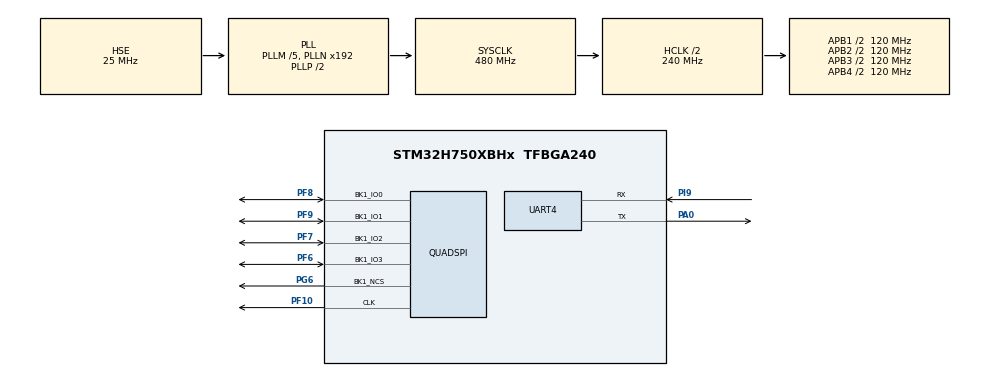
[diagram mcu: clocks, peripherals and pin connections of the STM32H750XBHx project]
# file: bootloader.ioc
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CORTEX_M7.AccessPermission-Cortex_Memory_Protection_Unit_Region1_Settings=MPU_REGION_FULL_ACCESS
CORTEX_M7.BaseAddress-Cortex_Memory_Protection_Unit_Region0_Settings=0x0
CORTEX_M7.BaseAddress-Cortex_Memory_Protection_Unit_Region1_Settings=0x90000000
CORTEX_M7.DisableExec-Cortex_Memory_Protection_Unit_Region0_Settings=MPU_INSTRUCTION_ACCESS_DISABLE
CORTEX_M7.Enable-Cortex_Memory_Protection_Unit_Region0_Settings=MPU_REGION_ENABLE
CORTEX_M7.Enable-Cortex_Memory_Protection_Unit_Region1_Settings=MPU_REGION_ENABLE
CORTEX_M7.IsCacheable-Cortex_Memory_Protection_Unit_Region1_Settings=MPU_ACCESS_CACHEABLE
CORTEX_M7.IsShareable-Cortex_Memory_Protection_Unit_Region0_Settings=MPU_ACCESS_SHAREABLE
CORTEX_M7.MPU_Control=MPU_PRIVILEGED_DEFAULT
CORTEX_M7.Size-Cortex_Memory_Protection_Unit_Region0_Settings=MPU_REGION_SIZE_4GB
CORTEX_M7.Size-Cortex_Memory_Protection_Unit_Region1_Settings=MPU_REGION_SIZE_8MB
CORTEX_M7.SubRegionDisable-Cortex_Memory_Protection_Unit_Region0_Settings=0x87
Mcu.Family=STM32H7
Mcu.Name=STM32H750XBHx
Mcu.Package=TFBGA240
NVIC.PriorityGroup=NVIC_PRIORITYGROUP_4
PA0.Mode=Asynchronous
PA0.Signal=UART4_TX
PF10.GPIO_Speed=GPIO_SPEED_FREQ_VERY_HIGH
PF10.Mode=Single Bank 1
PF10.Signal=QUADSPI_CLK
PF6.GPIO_Speed=GPIO_SPEED_FREQ_VERY_HIGH
PF6.Mode=Single Bank 1
PF6.Signal=QUADSPI_BK1_IO3
PF7.GPIO_Speed=GPIO_SPEED_FREQ_VERY_HIGH
PF7.Mode=Single Bank 1
PF7.Signal=QUADSPI_BK1_IO2
PF8.GPIO_Speed=GPIO_SPEED_FREQ_VERY_HIGH
PF8.Mode=Single Bank 1
PF8.Signal=QUADSPI_BK1_IO0
PF9.GPIO_Speed=GPIO_SPEED_FREQ_VERY_HIGH
PF9.Mode=Single Bank 1
PF9.Signal=QUADSPI_BK1_IO1
PG6.GPIO_Speed=GPIO_SPEED_FREQ_VERY_HIGH
PG6.Mode=Single Bank 1
PG6.Signal=QUADSPI_BK1_NCS
PH0-OSC_IN\ (PH0).Mode=HSE-External-Oscillator
PH0-OSC_IN\ (PH0).Signal=RCC_OSC_IN
PH1-OSC_OUT\ (PH1).Mode=HSE-External-Oscillator
PH1-OSC_OUT\ (PH1).Signal=RCC_OSC_OUT
PI9.Mode=Asynchronous
PI9.Signal=UART4_RX
ProjectManager.HeapSize=0x1000
ProjectManager.StackSize=0x1000
ProjectManager.TargetToolchain=MDK-ARM V5.32
QUADSPI.ChipSelectHighTime=QSPI_CS_HIGH_TIME_5_CYCLE
QUADSPI.ClockPrescaler=1
QUADSPI.FifoThreshold=4
QUADSPI.FlashSize=POSITION_VAL(0X1000000)-1
QUADSPI.SampleShifting=QSPI_SAMPLE_SHIFTING_HALFCYCLE
RCC.ADCFreq_Value=400000000
RCC.APB1Freq_Value=120000000
RCC.APB2Freq_Value=120000000
RCC.APB3Freq_Value=120000000
RCC.APB4Freq_Value=120000000
RCC.CortexFreq_Value=480000000
RCC.D1PPRE=RCC_APB3_DIV2
RCC.D2PPRE1=RCC_APB1_DIV2
RCC.D2PPRE2=RCC_APB2_DIV2
RCC.D3PPRE=RCC_APB4_DIV2
RCC.DIVM1=5
RCC.DIVM2=2
RCC.DIVM3=5
RCC.DIVN1=192
RCC.DIVN2=64
RCC.DIVN3=160
RCC.DIVQ3=8
RCC.HCLKFreq_Value=240000000
RCC.HPRE=RCC_HCLK_DIV2
RCC.PLL2FRACN=0
RCC.PLLFRACN=0
RCC.PLLSourceVirtual=RCC_PLLSOURCE_HSE
RCC.SYSCLKFreq_VALUE=480000000
RCC.SYSCLKSource=RCC_SYSCLKSOURCE_PLLCLK
RCC.USBFreq_Value=480000000
VP_MEMORYMAP_VS_MEMORYMAP.Mode=CurAppReg
board=custom

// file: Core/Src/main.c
/* USER CODE BEGIN Header */
/************************************************************************************************
                    _______  __________   ________________
           /\      | .----\\ ----------  /____  ___  ____/       /   ___ ___ ____
          //\\     ||      ||    ||          / /  / /           /__ /  //  /  /
         //  \\    ||_____//     ||         / /  / /           /__//__//__/  /
        //____\\   | ---- /      ||        / /  / /   _        /  ___  ___      /
       //------\\  ||    \\      ||       / /  / /   / /      /  /  / ___/  ___/
      //        \\ ||     \\     ||  ____/ /   \ \__/ /      /__/__/ /__/_ /__/
     //          \\||      \\    || /_____/     \____/
************************************************************************************************/
/**
  ******************************************************************************
  * @file           : main.c
  * @brief          : Main program body
  ******************************************************************************
  * @attention
  *
  * Copyright (c) 2024 STMicroelectronics.
  * All rights reserved.
  *
  * This software is licensed under terms that can be found in the LICENSE file
  * in the root directory of this software component.
  * If no LICENSE file comes with this software, it is provided AS-IS.
  *
  ******************************************************************************
  */
/* USER CODE END Header */
#include "main.h"

/* USER CODE BEGIN Includes */
#include <stdio.h>
// #include "memory.h"
# include "w25qxx.h"
/* USER CODE END Includes */

/* USER CODE BEGIN PTD */
typedef void (*pFunction)(void);

/* USER CODE END PTD */

/* USER CODE BEGIN PM */
// #define APPLICATION_ADDRESS (uint32_t)0x90000000
#define APPLICATION_ADDRESS QSPI_BASE

/* USER CODE END PM */

QSPI_HandleTypeDef hqspi;

UART_HandleTypeDef huart4;

/* USER CODE BEGIN PV */
pFunction JumpToApplication;

/* USER CODE END PV */

void SystemClock_Config(void);
static void MPU_Config(void);
static void MX_GPIO_Init(void);
static void MX_QUADSPI_Init(void);
static void MX_UART4_Init(void);
/* USER CODE BEGIN PFP */
static void CPU_CACHE_Enable(void);
static void CPU_CACHE_Disable(void);

/* USER CODE END PFP */

/* USER CODE BEGIN 0 */
#if defined(__ARMCC_VERSION)
#include "retarget_stdout.h"
#define PUTCHAR_PROTOTYPE int stdout_putchar(int ch)
#else
/* With GCC/RAISONANCE, small printf (option LD Linker->Libraries->Small printf
   set to 'Yes') calls __io_putchar() */
#define PUTCHAR_PROTOTYPE int __io_putchar(int ch)
#endif /* __CC_ARM */

/* USER CODE END 0 */

int main(void)
{

  /* USER CODE BEGIN 1 */
  CPU_CACHE_Enable();
  /* USER CODE END 1 */

  /* MPU Configuration--------------------------------------------------------*/
  MPU_Config();

  /* MCU Configuration--------------------------------------------------------*/

  /* Reset of all peripherals, Initializes the Flash interface and the Systick. */
  HAL_Init();

  /* Configure the system clock */
  SystemClock_Config();

  /* Initialize all configured peripherals */
  MX_GPIO_Init();
  MX_QUADSPI_Init();
  MX_UART4_Init();
  /* USER CODE BEGIN 2 */
  printf("art-pi bootloader\r\n");
  printf("booting...\r\n");
  W25QXX_Init();
  W25Q_Memory_Mapped_Enable();

  CPU_CACHE_Disable();

  /* Disable Systick interrupt */
  SysTick->CTRL = 0;

  /* Initialize user application's Stack Pointer & Jump to user application */
  JumpToApplication = (pFunction) (*(__IO uint32_t*) (APPLICATION_ADDRESS + 4));
  __set_MSP(*(__IO uint32_t*) APPLICATION_ADDRESS);
  JumpToApplication();
  /* USER CODE END 2 */

  /* Infinite loop */
  /* USER CODE BEGIN WHILE */
  while (1)
  {
    // printf("Hello World!\r\n");
    // HAL_Delay(1000);
    /* USER CODE END WHILE */

  }
}

void SystemClock_Config(void)
{
  RCC_OscInitTypeDef RCC_OscInitStruct = {0};
  RCC_ClkInitTypeDef RCC_ClkInitStruct = {0};

  /** Supply configuration update enable
  */
  HAL_PWREx_ConfigSupply(PWR_LDO_SUPPLY);

  /** Configure the main internal regulator output voltage
  */
  __HAL_PWR_VOLTAGESCALING_CONFIG(PWR_REGULATOR_VOLTAGE_SCALE0);

  while(!__HAL_PWR_GET_FLAG(PWR_FLAG_VOSRDY)) {}

  /** Initializes the RCC Oscillators according to the specified parameters
  * in the RCC_OscInitTypeDef structure.
  */
  RCC_OscInitStruct.OscillatorType = RCC_OSCILLATORTYPE_HSE;
  RCC_OscInitStruct.HSEState = RCC_HSE_ON;
  RCC_OscInitStruct.PLL.PLLState = RCC_PLL_ON;
  RCC_OscInitStruct.PLL.PLLSource = RCC_PLLSOURCE_HSE;
  RCC_OscInitStruct.PLL.PLLM = 5;
  RCC_OscInitStruct.PLL.PLLN = 192;
  RCC_OscInitStruct.PLL.PLLP = 2;
  RCC_OscInitStruct.PLL.PLLQ = 2;
  RCC_OscInitStruct.PLL.PLLR = 2;
  RCC_OscInitStruct.PLL.PLLRGE = RCC_PLL1VCIRANGE_2;
  RCC_OscInitStruct.PLL.PLLVCOSEL = RCC_PLL1VCOWIDE;
  RCC_OscInitStruct.PLL.PLLFRACN = 0;
  if (HAL_RCC_OscConfig(&RCC_OscInitStruct) != HAL_OK)
  {
    Error_Handler();
  }

  /** Initializes the CPU, AHB and APB buses clocks
  */
  RCC_ClkInitStruct.ClockType = RCC_CLOCKTYPE_HCLK|RCC_CLOCKTYPE_SYSCLK
                              |RCC_CLOCKTYPE_PCLK1|RCC_CLOCKTYPE_PCLK2
                              |RCC_CLOCKTYPE_D3PCLK1|RCC_CLOCKTYPE_D1PCLK1;
  RCC_ClkInitStruct.SYSCLKSource = RCC_SYSCLKSOURCE_PLLCLK;
  RCC_ClkInitStruct.SYSCLKDivider = RCC_SYSCLK_DIV1;
  RCC_ClkInitStruct.AHBCLKDivider = RCC_HCLK_DIV2;
  RCC_ClkInitStruct.APB3CLKDivider = RCC_APB3_DIV2;
  RCC_ClkInitStruct.APB1CLKDivider = RCC_APB1_DIV2;
  RCC_ClkInitStruct.APB2CLKDivider = RCC_APB2_DIV2;
  RCC_ClkInitStruct.APB4CLKDivider = RCC_APB4_DIV2;

  if (HAL_RCC_ClockConfig(&RCC_ClkInitStruct, FLASH_LATENCY_4) != HAL_OK)
  {
    Error_Handler();
  }
}

static void MX_QUADSPI_Init(void)
{

  /* QUADSPI parameter configuration*/
  hqspi.Instance = QUADSPI;
  hqspi.Init.ClockPrescaler = 1;
  hqspi.Init.FifoThreshold = 4;
  hqspi.Init.SampleShifting = QSPI_SAMPLE_SHIFTING_HALFCYCLE;
  hqspi.Init.FlashSize = POSITION_VAL(0X1000000)-1;
  hqspi.Init.ChipSelectHighTime = QSPI_CS_HIGH_TIME_5_CYCLE;
  hqspi.Init.ClockMode = QSPI_CLOCK_MODE_0;
  hqspi.Init.FlashID = QSPI_FLASH_ID_1;
  hqspi.Init.DualFlash = QSPI_DUALFLASH_DISABLE;
  if (HAL_QSPI_Init(&hqspi) != HAL_OK)
  {
    Error_Handler();
  }

}

static void MX_UART4_Init(void)
{

  huart4.Instance = UART4;
  huart4.Init.BaudRate = 115200;
  huart4.Init.WordLength = UART_WORDLENGTH_8B;
  huart4.Init.StopBits = UART_STOPBITS_1;
  huart4.Init.Parity = UART_PARITY_NONE;
  huart4.Init.Mode = UART_MODE_TX_RX;
  huart4.Init.HwFlowCtl = UART_HWCONTROL_NONE;
  huart4.Init.OverSampling = UART_OVERSAMPLING_16;
  huart4.Init.OneBitSampling = UART_ONE_BIT_SAMPLE_DISABLE;
  huart4.Init.ClockPrescaler = UART_PRESCALER_DIV1;
  huart4.AdvancedInit.AdvFeatureInit = UART_ADVFEATURE_NO_INIT;
  if (HAL_UART_Init(&huart4) != HAL_OK)
  {
    Error_Handler();
  }
  if (HAL_UARTEx_SetTxFifoThreshold(&huart4, UART_TXFIFO_THRESHOLD_1_8) != HAL_OK)
  {
    Error_Handler();
  }
  if (HAL_UARTEx_SetRxFifoThreshold(&huart4, UART_RXFIFO_THRESHOLD_1_8) != HAL_OK)
  {
    Error_Handler();
  }
  if (HAL_UARTEx_DisableFifoMode(&huart4) != HAL_OK)
  {
    Error_Handler();
  }

}

static void MX_GPIO_Init(void)
{

  /* GPIO Ports Clock Enable */
  __HAL_RCC_GPIOI_CLK_ENABLE();
  __HAL_RCC_GPIOG_CLK_ENABLE();
  __HAL_RCC_GPIOH_CLK_ENABLE();
  __HAL_RCC_GPIOF_CLK_ENABLE();
  __HAL_RCC_GPIOA_CLK_ENABLE();

}

/* USER CODE BEGIN 4 */
/**
  * @brief  CPU L1-Cache enable.
  * @param  None
  * @retval None
  */
static void CPU_CACHE_Enable(void)
{
  /* Enable I-Cache */
  SCB_EnableICache();

  /* Enable D-Cache */
  SCB_EnableDCache();
}

/**
  * @brief  CPU L1-Cache disable.
  * @param  None
  * @retval None
  */
static void CPU_CACHE_Disable(void)
{
  /* Disable I-Cache */
  SCB_DisableICache();

  /* Disable D-Cache */
  SCB_DisableDCache();
}

PUTCHAR_PROTOTYPE
{
  /* Place your implementation of fputc here */
  /* e.g. write a character to the USART1 and Loop until the end of transmission */
  HAL_UART_Transmit(&huart4, (uint8_t *)&ch, 1, 0xFFFF);
  return ch;
}

/* USER CODE END 4 */

 /* MPU Configuration */

void MPU_Config(void)
{
  MPU_Region_InitTypeDef MPU_InitStruct = {0};

  /* Disables the MPU */
  HAL_MPU_Disable();

  /** Initializes and configures the Region and the memory to be protected
  */
  MPU_InitStruct.Enable = MPU_REGION_ENABLE;
  MPU_InitStruct.Number = MPU_REGION_NUMBER0;
  MPU_InitStruct.BaseAddress = 0x0;
  MPU_InitStruct.Size = MPU_REGION_SIZE_4GB;
  MPU_InitStruct.SubRegionDisable = 0x87;
  MPU_InitStruct.TypeExtField = MPU_TEX_LEVEL0;
  MPU_InitStruct.AccessPermission = MPU_REGION_NO_ACCESS;
  MPU_InitStruct.DisableExec = MPU_INSTRUCTION_ACCESS_DISABLE;
  MPU_InitStruct.IsShareable = MPU_ACCESS_SHAREABLE;
  MPU_InitStruct.IsCacheable = MPU_ACCESS_NOT_CACHEABLE;
  MPU_InitStruct.IsBufferable = MPU_ACCESS_NOT_BUFFERABLE;

  HAL_MPU_ConfigRegion(&MPU_InitStruct);

  /** Initializes and configures the Region and the memory to be protected
  */
  MPU_InitStruct.Number = MPU_REGION_NUMBER1;
  MPU_InitStruct.BaseAddress = 0x90000000;
  MPU_InitStruct.Size = MPU_REGION_SIZE_8MB;
  MPU_InitStruct.SubRegionDisable = 0x0;
  MPU_InitStruct.AccessPermission = MPU_REGION_FULL_ACCESS;
  MPU_InitStruct.DisableExec = MPU_INSTRUCTION_ACCESS_ENABLE;
  MPU_InitStruct.IsShareable = MPU_ACCESS_NOT_SHAREABLE;
  MPU_InitStruct.IsCacheable = MPU_ACCESS_CACHEABLE;

  HAL_MPU_ConfigRegion(&MPU_InitStruct);
  /* Enables the MPU */
  HAL_MPU_Enable(MPU_PRIVILEGED_DEFAULT);

}

void Error_Handler(void)
{
  __disable_irq();
  while (1)
  {
  }
}
